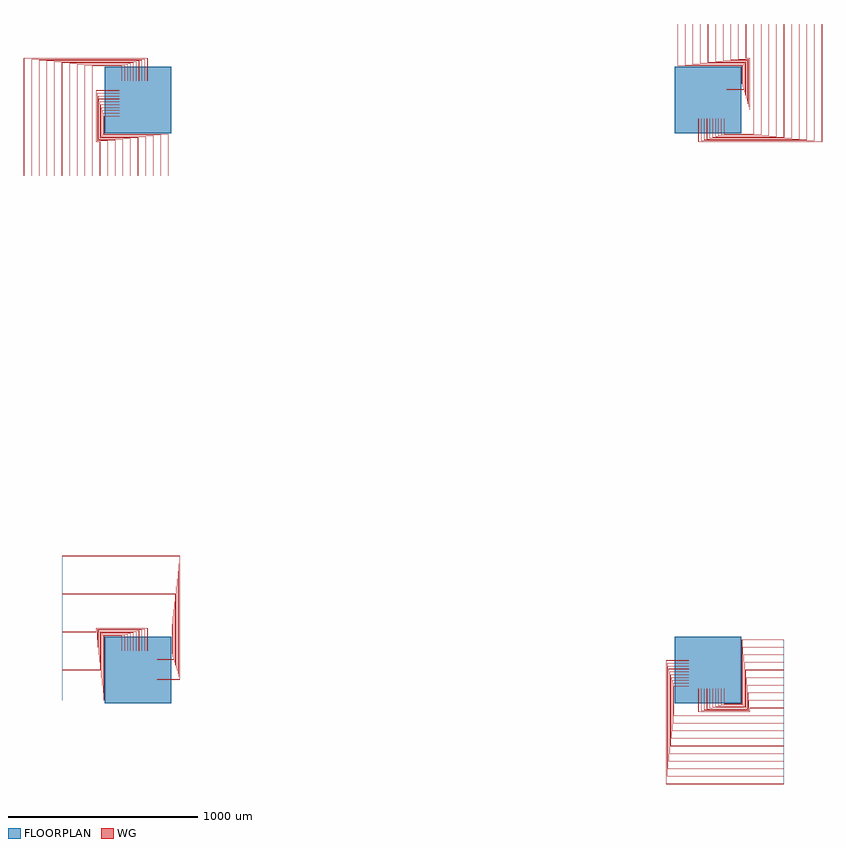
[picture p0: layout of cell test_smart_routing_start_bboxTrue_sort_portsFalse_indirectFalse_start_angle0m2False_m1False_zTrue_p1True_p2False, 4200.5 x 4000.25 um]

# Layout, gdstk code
import gdstk
lib = gdstk.Library(unit=1e-6, precision=1e-09)
def R(c, l, rs):  # rectangles x0, y0, x1, y1
    for r in rs: c.add(gdstk.rectangle(r[:2], r[2:], *l))
def P(c, l, *ps):  # polygons
    for p in ps: c.add(gdstk.Polygon(p, *l))
WG = (1, 0)
FLOORPLAN = (10, 0)

test_smart_routing_start = lib.new_cell('test_smart_routing_start_bboxTrue_sort_portsFalse_indirectFalse_start_angle0m2False_m1False_zTrue_p1True_p2False')
P(test_smart_routing_start, WG, [(2950.05,2780.3),(2950.05,2900),(2950.25,2900),(2950.25,2780.5),(3599.75,2780.5),(3599.75,3400),(3599.95,3400),(3599.95,2780.3)],
  [(2949.75,2780),(2949.75,2900),(2949.95,2900),(2949.95,2780.2),(3600.05,2780.2),(3600.05,3400),(3600.25,3400),(3600.25,2780)],
  [(2965.05,2784.8),(2965.05,2900),(2965.25,2900),(2965.25,2785),(3559.75,2785),(3559.75,3400),(3559.95,3400),(3559.95,2784.8)],
  [(2964.75,2784.5),(2964.75,2900),(2964.95,2900),(2964.95,2784.7),(3560.05,2784.7),(3560.05,3400),(3560.25,3400),(3560.25,2784.5)],
  [(2980.05,2789.3),(2980.05,2900),(2980.25,2900),(2980.25,2789.5),(3519.75,2789.5),(3519.75,3400),(3519.95,3400),(3519.95,2789.3)],
  [(2979.75,2789),(2979.75,2900),(2979.95,2900),(2979.95,2789.2),(3520.05,2789.2),(3520.05,3400),(3520.25,3400),(3520.25,2789)],
  [(2995.05,2793.8),(2995.05,2900),(2995.25,2900),(2995.25,2794),(3479.75,2794),(3479.75,3400),(3479.95,3400),(3479.95,2793.8)],
  [(2994.75,2793.5),(2994.75,2900),(2994.95,2900),(2994.95,2793.7),(3480.05,2793.7),(3480.05,3400),(3480.25,3400),(3480.25,2793.5)],
  [(3010.05,2798.3),(3010.05,2900),(3010.25,2900),(3010.25,2798.5),(3439.75,2798.5),(3439.75,3400),(3439.95,3400),(3439.95,2798.3)],
  [(3009.75,2798),(3009.75,2900),(3009.95,2900),(3009.95,2798.2),(3440.05,2798.2),(3440.05,3400),(3440.25,3400),(3440.25,2798)],
  [(3025.05,2802.8),(3025.05,2900),(3025.25,2900),(3025.25,2803),(3399.75,2803),(3399.75,3400),(3399.95,3400),(3399.95,2802.8)],
  [(3024.75,2802.5),(3024.75,2900),(3024.95,2900),(3024.95,2802.7),(3400.05,2802.7),(3400.05,3400),(3400.25,3400),(3400.25,2802.5)],
  [(3040.05,2807.3),(3040.05,2900),(3040.25,2900),(3040.25,2807.5),(3359.75,2807.5),(3359.75,3400),(3359.95,3400),(3359.95,2807.3)],
  [(3039.75,2807),(3039.75,2900),(3039.95,2900),(3039.95,2807.2),(3360.05,2807.2),(3360.05,3400),(3360.25,3400),(3360.25,2807)],
  [(3055.05,2811.8),(3055.05,2900),(3055.25,2900),(3055.25,2812),(3319.75,2812),(3319.75,3400),(3319.95,3400),(3319.95,2811.8)],
  [(3054.75,2811.5),(3054.75,2900),(3054.95,2900),(3054.95,2811.7),(3320.05,2811.7),(3320.05,3400),(3320.25,3400),(3320.25,2811.5)],
  [(3070.05,2816.3),(3070.05,2900),(3070.25,2900),(3070.25,2816.5),(3279.75,2816.5),(3279.75,3400),(3279.95,3400),(3279.95,2816.3)],
  [(3069.75,2816),(3069.75,2900),(3069.95,2900),(3069.95,2816.2),(3280.05,2816.2),(3280.05,3400),(3280.25,3400),(3280.25,2816)],
  [(3085.05,2820.8),(3085.05,2900),(3085.25,2900),(3085.25,2821),(3239.75,2821),(3239.75,3400),(3239.95,3400),(3239.95,2820.8)],
  [(3084.75,2820.5),(3084.75,2900),(3084.95,2900),(3084.95,2820.7),(3240.05,2820.7),(3240.05,3400),(3240.25,3400),(3240.25,2820.5)],
  [(3100,2950.05),(3100,2950.25),(3219.5,2950.25),(3219.5,3219.5),(3199.75,3219.5),(3199.75,3400),(3199.95,3400),(3199.95,3219.7),(3219.7,3219.7),(3219.7,2950.05)],
  [(3100,2949.75),(3100,2949.95),(3219.8,2949.95),(3219.8,3219.8),(3200.05,3219.8),(3200.05,3400),(3200.25,3400),(3200.25,3220),(3220,3220),(3220,2949.75)],
  [(3100,2965.05),(3100,2965.25),(3215,2965.25),(3215,3215),(3159.75,3215),(3159.75,3400),(3159.95,3400),(3159.95,3215.2),(3215.2,3215.2),(3215.2,2965.05)],
  [(3100,2964.75),(3100,2964.95),(3215.3,2964.95),(3215.3,3215.3),(3160.05,3215.3),(3160.05,3400),(3160.25,3400),(3160.25,3215.5),(3215.5,3215.5),(3215.5,2964.75)],
  [(3100,2980.05),(3100,2980.25),(3210.5,2980.25),(3210.5,3210.5),(3119.75,3210.5),(3119.75,3400),(3119.95,3400),(3119.95,3210.7),(3210.7,3210.7),(3210.7,2980.05)],
  [(3100,2979.75),(3100,2979.95),(3210.8,2979.95),(3210.8,3210.8),(3120.05,3210.8),(3120.05,3400),(3120.25,3400),(3120.25,3211),(3211,3211),(3211,2979.75)],
  [(3100,2995.05),(3100,2995.25),(3206,2995.25),(3206,3206),(3079.75,3206),(3079.75,3400),(3079.95,3400),(3079.95,3206.2),(3206.2,3206.2),(3206.2,2995.05)],
  [(3100,2994.75),(3100,2994.95),(3206.3,2994.95),(3206.3,3206.3),(3080.05,3206.3),(3080.05,3400),(3080.25,3400),(3080.25,3206.5),(3206.5,3206.5),(3206.5,2994.75)],
  [(3100,3010.05),(3100,3010.25),(3201.5,3010.25),(3201.5,3201.5),(3039.75,3201.5),(3039.75,3400),(3039.95,3400),(3039.95,3201.7),(3201.7,3201.7),(3201.7,3010.05)],
  [(3100,3009.75),(3100,3009.95),(3201.8,3009.95),(3201.8,3201.8),(3040.05,3201.8),(3040.05,3400),(3040.25,3400),(3040.25,3202),(3202,3202),(3202,3009.75)],
  [(3100,3025.05),(3100,3025.25),(3197,3025.25),(3197,3197),(2999.75,3197),(2999.75,3400),(2999.95,3400),(2999.95,3197.2),(3197.2,3197.2),(3197.2,3025.05)],
  [(3100,3024.75),(3100,3024.95),(3197.3,3024.95),(3197.3,3197.3),(3000.05,3197.3),(3000.05,3400),(3000.25,3400),(3000.25,3197.5),(3197.5,3197.5),(3197.5,3024.75)],
  [(3100,3040.05),(3100,3040.25),(3192.5,3040.25),(3192.5,3192.5),(2959.75,3192.5),(2959.75,3400),(2959.95,3400),(2959.95,3192.7),(3192.7,3192.7),(3192.7,3040.05)],
  [(3100,3039.75),(3100,3039.95),(3192.8,3039.95),(3192.8,3192.8),(2960.05,3192.8),(2960.05,3400),(2960.25,3400),(2960.25,3193),(3193,3193),(3193,3039.75)],
  [(3100,3055.05),(3100,3055.25),(3188,3055.25),(3188,3188),(2919.75,3188),(2919.75,3400),(2919.95,3400),(2919.95,3188.2),(3188.2,3188.2),(3188.2,3055.05)],
  [(3100,3054.75),(3100,3054.95),(3188.3,3054.95),(3188.3,3188.3),(2920.05,3188.3),(2920.05,3400),(2920.25,3400),(2920.25,3188.5),(3188.5,3188.5),(3188.5,3054.75)],
  [(3100,3070.05),(3100,3070.25),(3183.5,3070.25),(3183.5,3183.5),(2879.75,3183.5),(2879.75,3400),(2879.95,3400),(2879.95,3183.7),(3183.7,3183.7),(3183.7,3070.05)],
  [(3100,3069.75),(3100,3069.95),(3183.8,3069.95),(3183.8,3183.8),(2880.05,3183.8),(2880.05,3400),(2880.25,3400),(2880.25,3184),(3184,3184),(3184,3069.75)],
  [(3100,3085.05),(3100,3085.25),(3179,3085.25),(3179,3179),(2839.75,3179),(2839.75,3400),(2839.95,3400),(2839.95,3179.2),(3179.2,3179.2),(3179.2,3085.05)],
  [(3100,3084.75),(3100,3084.95),(3179.3,3084.95),(3179.3,3179.3),(2840.05,3179.3),(2840.05,3400),(2840.25,3400),(2840.25,3179.5),(3179.5,3179.5),(3179.5,3084.75)],
  [(-599.95,2600),(-599.95,3219.7),(49.95,3219.7),(49.95,3100),(49.75,3100),(49.75,3219.5),(-599.75,3219.5),(-599.75,2600)],
  [(-600.25,2600),(-600.25,3220),(50.25,3220),(50.25,3100),(50.05,3100),(50.05,3219.8),(-600.05,3219.8),(-600.05,2600)],
  [(-559.95,2600),(-559.95,3215.2),(34.95,3215.2),(34.95,3100),(34.75,3100),(34.75,3215),(-559.75,3215),(-559.75,2600)],
  [(-560.25,2600),(-560.25,3215.5),(35.25,3215.5),(35.25,3100),(35.05,3100),(35.05,3215.3),(-560.05,3215.3),(-560.05,2600)],
  [(-519.95,2600),(-519.95,3210.7),(19.95,3210.7),(19.95,3100),(19.75,3100),(19.75,3210.5),(-519.75,3210.5),(-519.75,2600)],
  [(-520.25,2600),(-520.25,3211),(20.25,3211),(20.25,3100),(20.05,3100),(20.05,3210.8),(-520.05,3210.8),(-520.05,2600)],
  [(-479.95,2600),(-479.95,3206.2),(4.95,3206.2),(4.95,3100),(4.75,3100),(4.75,3206),(-479.75,3206),(-479.75,2600)],
  [(-480.25,2600),(-480.25,3206.5),(5.25,3206.5),(5.25,3100),(5.05,3100),(5.05,3206.3),(-480.05,3206.3),(-480.05,2600)],
  [(-439.95,2600),(-439.95,3201.7),(-10.05,3201.7),(-10.05,3100),(-10.25,3100),(-10.25,3201.5),(-439.75,3201.5),(-439.75,2600)],
  [(-440.25,2600),(-440.25,3202),(-9.75,3202),(-9.75,3100),(-9.95,3100),(-9.95,3201.8),(-440.05,3201.8),(-440.05,2600)],
  [(-399.95,2600),(-399.95,3197.2),(-25.05,3197.2),(-25.05,3100),(-25.25,3100),(-25.25,3197),(-399.75,3197),(-399.75,2600)],
  [(-400.25,2600),(-400.25,3197.5),(-24.75,3197.5),(-24.75,3100),(-24.95,3100),(-24.95,3197.3),(-400.05,3197.3),(-400.05,2600)],
  [(-359.95,2600),(-359.95,3192.7),(-40.05,3192.7),(-40.05,3100),(-40.25,3100),(-40.25,3192.5),(-359.75,3192.5),(-359.75,2600)],
  [(-360.25,2600),(-360.25,3193),(-39.75,3193),(-39.75,3100),(-39.95,3100),(-39.95,3192.8),(-360.05,3192.8),(-360.05,2600)],
  [(-319.95,2600),(-319.95,3188.2),(-55.05,3188.2),(-55.05,3100),(-55.25,3100),(-55.25,3188),(-319.75,3188),(-319.75,2600)],
  [(-320.25,2600),(-320.25,3188.5),(-54.75,3188.5),(-54.75,3100),(-54.95,3100),(-54.95,3188.3),(-320.05,3188.3),(-320.05,2600)],
  [(-279.95,2600),(-279.95,3183.7),(-70.05,3183.7),(-70.05,3100),(-70.25,3100),(-70.25,3183.5),(-279.75,3183.5),(-279.75,2600)],
  [(-280.25,2600),(-280.25,3184),(-69.75,3184),(-69.75,3100),(-69.95,3100),(-69.95,3183.8),(-280.05,3183.8),(-280.05,2600)],
  [(-239.95,2600),(-239.95,3179.2),(-85.05,3179.2),(-85.05,3100),(-85.25,3100),(-85.25,3179),(-239.75,3179),(-239.75,2600)],
  [(-240.25,2600),(-240.25,3179.5),(-84.75,3179.5),(-84.75,3100),(-84.95,3100),(-84.95,3179.3),(-240.05,3179.3),(-240.05,2600)],
  [(-199.95,2600),(-199.95,2780.3),(-219.7,2780.3),(-219.7,3049.95),(-100,3049.95),(-100,3049.75),(-219.5,3049.75),(-219.5,2780.5),(-199.75,2780.5),(-199.75,2600)],
  [(-200.25,2600),(-200.25,2780),(-220,2780),(-220,3050.25),(-100,3050.25),(-100,3050.05),(-219.8,3050.05),(-219.8,2780.2),(-200.05,2780.2),(-200.05,2600)],
  [(-159.95,2600),(-159.95,2784.8),(-215.2,2784.8),(-215.2,3034.95),(-100,3034.95),(-100,3034.75),(-215,3034.75),(-215,2785),(-159.75,2785),(-159.75,2600)],
  [(-160.25,2600),(-160.25,2784.5),(-215.5,2784.5),(-215.5,3035.25),(-100,3035.25),(-100,3035.05),(-215.3,3035.05),(-215.3,2784.7),(-160.05,2784.7),(-160.05,2600)],
  [(-119.95,2600),(-119.95,2789.3),(-210.7,2789.3),(-210.7,3019.95),(-100,3019.95),(-100,3019.75),(-210.5,3019.75),(-210.5,2789.5),(-119.75,2789.5),(-119.75,2600)],
  [(-120.25,2600),(-120.25,2789),(-211,2789),(-211,3020.25),(-100,3020.25),(-100,3020.05),(-210.8,3020.05),(-210.8,2789.2),(-120.05,2789.2),(-120.05,2600)],
  [(-79.95,2600),(-79.95,2793.8),(-206.2,2793.8),(-206.2,3004.95),(-100,3004.95),(-100,3004.75),(-206,3004.75),(-206,2794),(-79.75,2794),(-79.75,2600)],
  [(-80.25,2600),(-80.25,2793.5),(-206.5,2793.5),(-206.5,3005.25),(-100,3005.25),(-100,3005.05),(-206.3,3005.05),(-206.3,2793.7),(-80.05,2793.7),(-80.05,2600)],
  [(-39.95,2600),(-39.95,2798.3),(-201.7,2798.3),(-201.7,2989.95),(-100,2989.95),(-100,2989.75),(-201.5,2989.75),(-201.5,2798.5),(-39.75,2798.5),(-39.75,2600)],
  [(-40.25,2600),(-40.25,2798),(-202,2798),(-202,2990.25),(-100,2990.25),(-100,2990.05),(-201.8,2990.05),(-201.8,2798.2),(-40.05,2798.2),(-40.05,2600)],
  [(0.05,2600),(0.05,2802.8),(-197.2,2802.8),(-197.2,2974.95),(-100,2974.95),(-100,2974.75),(-197,2974.75),(-197,2803),(0.25,2803),(0.25,2600)],
  [(-0.25,2600),(-0.25,2802.5),(-197.5,2802.5),(-197.5,2975.25),(-100,2975.25),(-100,2975.05),(-197.3,2975.05),(-197.3,2802.7),(-0.05,2802.7),(-0.05,2600)],
  [(40.05,2600),(40.05,2807.3),(-192.7,2807.3),(-192.7,2959.95),(-100,2959.95),(-100,2959.75),(-192.5,2959.75),(-192.5,2807.5),(40.25,2807.5),(40.25,2600)],
  [(39.75,2600),(39.75,2807),(-193,2807),(-193,2960.25),(-100,2960.25),(-100,2960.05),(-192.8,2960.05),(-192.8,2807.2),(39.95,2807.2),(39.95,2600)],
  [(80.05,2600),(80.05,2811.8),(-188.2,2811.8),(-188.2,2944.95),(-100,2944.95),(-100,2944.75),(-188,2944.75),(-188,2812),(80.25,2812),(80.25,2600)],
  [(79.75,2600),(79.75,2811.5),(-188.5,2811.5),(-188.5,2945.25),(-100,2945.25),(-100,2945.05),(-188.3,2945.05),(-188.3,2811.7),(79.95,2811.7),(79.95,2600)],
  [(120.05,2600),(120.05,2816.3),(-183.7,2816.3),(-183.7,2929.95),(-100,2929.95),(-100,2929.75),(-183.5,2929.75),(-183.5,2816.5),(120.25,2816.5),(120.25,2600)],
  [(119.75,2600),(119.75,2816),(-184,2816),(-184,2930.25),(-100,2930.25),(-100,2930.05),(-183.8,2930.05),(-183.8,2816.2),(119.95,2816.2),(119.95,2600)],
  [(160.05,2600),(160.05,2820.8),(-179.2,2820.8),(-179.2,2914.95),(-100,2914.95),(-100,2914.75),(-179,2914.75),(-179,2821),(160.25,2821),(160.25,2600)],
  [(159.75,2600),(159.75,2820.5),(-179.5,2820.5),(-179.5,2915.25),(-100,2915.25),(-100,2915.05),(-179.3,2915.05),(-179.3,2820.7),(159.95,2820.7),(159.95,2600)],
  [(100,-49.95),(100,-49.75),(219.5,-49.75),(219.5,599.75),(-400,599.75),(-400,599.95),(219.7,599.95),(219.7,-49.95)],
  [(100,-50.25),(100,-50.05),(219.8,-50.05),(219.8,600.05),(-400,600.05),(-400,600.25),(220,600.25),(220,-50.25)],
  [(100,-34.95),(100,-34.75),(215,-34.75),(215,559.75),(-400,559.75),(-400,559.95),(215.2,559.95),(215.2,-34.95)],
  [(100,-35.25),(100,-35.05),(215.3,-35.05),(215.3,560.05),(-400,560.05),(-400,560.25),(215.5,560.25),(215.5,-35.25)],
  [(100,-19.95),(100,-19.75),(210.5,-19.75),(210.5,519.75),(-400,519.75),(-400,519.95),(210.7,519.95),(210.7,-19.95)],
  [(100,-20.25),(100,-20.05),(210.8,-20.05),(210.8,520.05),(-400,520.05),(-400,520.25),(211,520.25),(211,-20.25)],
  [(100,-4.95),(100,-4.75),(206,-4.75),(206,479.75),(-400,479.75),(-400,479.95),(206.2,479.95),(206.2,-4.95)],
  [(100,-5.25),(100,-5.05),(206.3,-5.05),(206.3,480.05),(-400,480.05),(-400,480.25),(206.5,480.25),(206.5,-5.25)],
  [(100,10.05),(100,10.25),(201.5,10.25),(201.5,439.75),(-400,439.75),(-400,439.95),(201.7,439.95),(201.7,10.05)],
  [(100,9.75),(100,9.95),(201.8,9.95),(201.8,440.05),(-400,440.05),(-400,440.25),(202,440.25),(202,9.75)],
  [(100,25.05),(100,25.25),(197,25.25),(197,399.75),(-400,399.75),(-400,399.95),(197.2,399.95),(197.2,25.05)],
  [(100,24.75),(100,24.95),(197.3,24.95),(197.3,400.05),(-400,400.05),(-400,400.25),(197.5,400.25),(197.5,24.75)],
  [(100,40.05),(100,40.25),(192.5,40.25),(192.5,359.75),(-400,359.75),(-400,359.95),(192.7,359.95),(192.7,40.05)],
  [(100,39.75),(100,39.95),(192.8,39.95),(192.8,360.05),(-400,360.05),(-400,360.25),(193,360.25),(193,39.75)],
  [(100,55.05),(100,55.25),(188,55.25),(188,319.75),(-400,319.75),(-400,319.95),(188.2,319.95),(188.2,55.05)],
  [(100,54.75),(100,54.95),(188.3,54.95),(188.3,320.05),(-400,320.05),(-400,320.25),(188.5,320.25),(188.5,54.75)],
  [(100,70.05),(100,70.25),(183.5,70.25),(183.5,279.75),(-400,279.75),(-400,279.95),(183.7,279.95),(183.7,70.05)],
  [(100,69.75),(100,69.95),(183.8,69.95),(183.8,280.05),(-400,280.05),(-400,280.25),(184,280.25),(184,69.75)],
  [(100,85.05),(100,85.25),(179,85.25),(179,239.75),(-400,239.75),(-400,239.95),(179.2,239.95),(179.2,85.05)],
  [(100,84.75),(100,84.95),(179.3,84.95),(179.3,240.05),(-400,240.05),(-400,240.25),(179.5,240.25),(179.5,84.75)],
  [(49.75,100),(49.75,219.5),(-219.5,219.5),(-219.5,199.75),(-400,199.75),(-400,199.95),(-219.7,199.95),(-219.7,219.7),(49.95,219.7),(49.95,100)],
  [(50.05,100),(50.05,219.8),(-219.8,219.8),(-219.8,200.05),(-400,200.05),(-400,200.25),(-220,200.25),(-220,220),(50.25,220),(50.25,100)],
  [(34.75,100),(34.75,215),(-215,215),(-215,159.75),(-400,159.75),(-400,159.95),(-215.2,159.95),(-215.2,215.2),(34.95,215.2),(34.95,100)],
  [(35.05,100),(35.05,215.3),(-215.3,215.3),(-215.3,160.05),(-400,160.05),(-400,160.25),(-215.5,160.25),(-215.5,215.5),(35.25,215.5),(35.25,100)],
  [(19.75,100),(19.75,210.5),(-210.5,210.5),(-210.5,119.75),(-400,119.75),(-400,119.95),(-210.7,119.95),(-210.7,210.7),(19.95,210.7),(19.95,100)],
  [(20.05,100),(20.05,210.8),(-210.8,210.8),(-210.8,120.05),(-400,120.05),(-400,120.25),(-211,120.25),(-211,211),(20.25,211),(20.25,100)],
  [(-400,79.75),(-400,79.95),(-206.2,79.95),(-206.2,206.2),(4.95,206.2),(4.95,100),(4.75,100),(4.75,206),(-206,206),(-206,79.75)],
  [(-400,80.05),(-400,80.25),(-206.5,80.25),(-206.5,206.5),(5.25,206.5),(5.25,100),(5.05,100),(5.05,206.3),(-206.3,206.3),(-206.3,80.05)],
  [(-400,39.75),(-400,39.95),(-201.7,39.95),(-201.7,201.7),(-10.05,201.7),(-10.05,100),(-10.25,100),(-10.25,201.5),(-201.5,201.5),(-201.5,39.75)],
  [(-400,40.05),(-400,40.25),(-202,40.25),(-202,202),(-9.75,202),(-9.75,100),(-9.95,100),(-9.95,201.8),(-201.8,201.8),(-201.8,40.05)],
  [(-400,-0.25),(-400,-0.05),(-197.2,-0.05),(-197.2,197.2),(-25.05,197.2),(-25.05,100),(-25.25,100),(-25.25,197),(-197,197),(-197,-0.25)],
  [(-400,0.05),(-400,0.25),(-197.5,0.25),(-197.5,197.5),(-24.75,197.5),(-24.75,100),(-24.95,100),(-24.95,197.3),(-197.3,197.3),(-197.3,0.05)],
  [(-400,-40.25),(-400,-40.05),(-192.7,-40.05),(-192.7,192.7),(-40.05,192.7),(-40.05,100),(-40.25,100),(-40.25,192.5),(-192.5,192.5),(-192.5,-40.25)],
  [(-400,-39.95),(-400,-39.75),(-193,-39.75),(-193,193),(-39.75,193),(-39.75,100),(-39.95,100),(-39.95,192.8),(-192.8,192.8),(-192.8,-39.95)],
  [(-400,-80.25),(-400,-80.05),(-188.2,-80.05),(-188.2,188.2),(-55.05,188.2),(-55.05,100),(-55.25,100),(-55.25,188),(-188,188),(-188,-80.25)],
  [(-400,-79.95),(-400,-79.75),(-188.5,-79.75),(-188.5,188.5),(-54.75,188.5),(-54.75,100),(-54.95,100),(-54.95,188.3),(-188.3,188.3),(-188.3,-79.95)],
  [(-400,-120.25),(-400,-120.05),(-183.7,-120.05),(-183.7,183.7),(-70.05,183.7),(-70.05,100),(-70.25,100),(-70.25,183.5),(-183.5,183.5),(-183.5,-120.25)],
  [(-400,-119.95),(-400,-119.75),(-184,-119.75),(-184,184),(-69.75,184),(-69.75,100),(-69.95,100),(-69.95,183.8),(-183.8,183.8),(-183.8,-119.95)],
  [(-400,-160.25),(-400,-160.05),(-179.2,-160.05),(-179.2,179.2),(-85.05,179.2),(-85.05,100),(-85.25,100),(-85.25,179),(-179,179),(-179,-160.25)],
  [(-400,-159.95),(-400,-159.75),(-179.5,-159.75),(-179.5,179.5),(-84.75,179.5),(-84.75,100),(-84.95,100),(-84.95,179.3),(-179.3,179.3),(-179.3,-159.95)],
  [(2780.3,-599.95),(2780.3,49.95),(2900,49.95),(2900,49.75),(2780.5,49.75),(2780.5,-599.75),(3400,-599.75),(3400,-599.95)],
  [(2780,-600.25),(2780,50.25),(2900,50.25),(2900,50.05),(2780.2,50.05),(2780.2,-600.05),(3400,-600.05),(3400,-600.25)],
  [(2784.8,-559.95),(2784.8,34.95),(2900,34.95),(2900,34.75),(2785,34.75),(2785,-559.75),(3400,-559.75),(3400,-559.95)],
  [(2784.5,-560.25),(2784.5,35.25),(2900,35.25),(2900,35.05),(2784.7,35.05),(2784.7,-560.05),(3400,-560.05),(3400,-560.25)],
  [(2789.3,-519.95),(2789.3,19.95),(2900,19.95),(2900,19.75),(2789.5,19.75),(2789.5,-519.75),(3400,-519.75),(3400,-519.95)],
  [(2789,-520.25),(2789,20.25),(2900,20.25),(2900,20.05),(2789.2,20.05),(2789.2,-520.05),(3400,-520.05),(3400,-520.25)],
  [(2793.8,-479.95),(2793.8,4.95),(2900,4.95),(2900,4.75),(2794,4.75),(2794,-479.75),(3400,-479.75),(3400,-479.95)],
  [(2793.5,-480.25),(2793.5,5.25),(2900,5.25),(2900,5.05),(2793.7,5.05),(2793.7,-480.05),(3400,-480.05),(3400,-480.25)],
  [(2798.3,-439.95),(2798.3,-10.05),(2900,-10.05),(2900,-10.25),(2798.5,-10.25),(2798.5,-439.75),(3400,-439.75),(3400,-439.95)],
  [(2798,-440.25),(2798,-9.75),(2900,-9.75),(2900,-9.95),(2798.2,-9.95),(2798.2,-440.05),(3400,-440.05),(3400,-440.25)],
  [(2802.8,-399.95),(2802.8,-25.05),(2900,-25.05),(2900,-25.25),(2803,-25.25),(2803,-399.75),(3400,-399.75),(3400,-399.95)],
  [(2802.5,-400.25),(2802.5,-24.75),(2900,-24.75),(2900,-24.95),(2802.7,-24.95),(2802.7,-400.05),(3400,-400.05),(3400,-400.25)],
  [(2807.3,-359.95),(2807.3,-40.05),(2900,-40.05),(2900,-40.25),(2807.5,-40.25),(2807.5,-359.75),(3400,-359.75),(3400,-359.95)],
  [(2807,-360.25),(2807,-39.75),(2900,-39.75),(2900,-39.95),(2807.2,-39.95),(2807.2,-360.05),(3400,-360.05),(3400,-360.25)],
  [(2811.8,-319.95),(2811.8,-55.05),(2900,-55.05),(2900,-55.25),(2812,-55.25),(2812,-319.75),(3400,-319.75),(3400,-319.95)],
  [(2811.5,-320.25),(2811.5,-54.75),(2900,-54.75),(2900,-54.95),(2811.7,-54.95),(2811.7,-320.05),(3400,-320.05),(3400,-320.25)],
  [(2816.3,-279.95),(2816.3,-70.05),(2900,-70.05),(2900,-70.25),(2816.5,-70.25),(2816.5,-279.75),(3400,-279.75),(3400,-279.95)],
  [(2816,-280.25),(2816,-69.75),(2900,-69.75),(2900,-69.95),(2816.2,-69.95),(2816.2,-280.05),(3400,-280.05),(3400,-280.25)],
  [(2820.8,-239.95),(2820.8,-85.05),(2900,-85.05),(2900,-85.25),(2821,-85.25),(2821,-239.75),(3400,-239.75),(3400,-239.95)],
  [(2820.5,-240.25),(2820.5,-84.75),(2900,-84.75),(2900,-84.95),(2820.7,-84.95),(2820.7,-240.05),(3400,-240.05),(3400,-240.25)],
  [(2949.75,-220),(2949.75,-100),(2949.95,-100),(2949.95,-219.8),(3219.8,-219.8),(3219.8,-200.05),(3400,-200.05),(3400,-200.25),(3220,-200.25),(3220,-220)],
  [(2950.05,-219.7),(2950.05,-100),(2950.25,-100),(2950.25,-219.5),(3219.5,-219.5),(3219.5,-199.75),(3400,-199.75),(3400,-199.95),(3219.7,-199.95),(3219.7,-219.7)],
  [(2964.75,-215.5),(2964.75,-100),(2964.95,-100),(2964.95,-215.3),(3215.3,-215.3),(3215.3,-160.05),(3400,-160.05),(3400,-160.25),(3215.5,-160.25),(3215.5,-215.5)],
  [(2965.05,-215.2),(2965.05,-100),(2965.25,-100),(2965.25,-215),(3215,-215),(3215,-159.75),(3400,-159.75),(3400,-159.95),(3215.2,-159.95),(3215.2,-215.2)],
  [(2979.75,-211),(2979.75,-100),(2979.95,-100),(2979.95,-210.8),(3210.8,-210.8),(3210.8,-120.05),(3400,-120.05),(3400,-120.25),(3211,-120.25),(3211,-211)],
  [(2980.05,-210.7),(2980.05,-100),(2980.25,-100),(2980.25,-210.5),(3210.5,-210.5),(3210.5,-119.75),(3400,-119.75),(3400,-119.95),(3210.7,-119.95),(3210.7,-210.7)],
  [(2994.75,-206.5),(2994.75,-100),(2994.95,-100),(2994.95,-206.3),(3206.3,-206.3),(3206.3,-80.05),(3400,-80.05),(3400,-80.25),(3206.5,-80.25),(3206.5,-206.5)],
  [(2995.05,-206.2),(2995.05,-100),(2995.25,-100),(2995.25,-206),(3206,-206),(3206,-79.75),(3400,-79.75),(3400,-79.95),(3206.2,-79.95),(3206.2,-206.2)],
  [(3009.75,-202),(3009.75,-100),(3009.95,-100),(3009.95,-201.8),(3201.8,-201.8),(3201.8,-40.05),(3400,-40.05),(3400,-40.25),(3202,-40.25),(3202,-202)],
  [(3010.05,-201.7),(3010.05,-100),(3010.25,-100),(3010.25,-201.5),(3201.5,-201.5),(3201.5,-39.75),(3400,-39.75),(3400,-39.95),(3201.7,-39.95),(3201.7,-201.7)],
  [(3024.75,-197.5),(3024.75,-100),(3024.95,-100),(3024.95,-197.3),(3197.3,-197.3),(3197.3,-0.05),(3400,-0.05),(3400,-0.25),(3197.5,-0.25),(3197.5,-197.5)],
  [(3025.05,-197.2),(3025.05,-100),(3025.25,-100),(3025.25,-197),(3197,-197),(3197,0.25),(3400,0.25),(3400,0.05),(3197.2,0.05),(3197.2,-197.2)],
  [(3039.75,-193),(3039.75,-100),(3039.95,-100),(3039.95,-192.8),(3192.8,-192.8),(3192.8,39.95),(3400,39.95),(3400,39.75),(3193,39.75),(3193,-193)],
  [(3040.05,-192.7),(3040.05,-100),(3040.25,-100),(3040.25,-192.5),(3192.5,-192.5),(3192.5,40.25),(3400,40.25),(3400,40.05),(3192.7,40.05),(3192.7,-192.7)],
  [(3054.75,-188.5),(3054.75,-100),(3054.95,-100),(3054.95,-188.3),(3188.3,-188.3),(3188.3,79.95),(3400,79.95),(3400,79.75),(3188.5,79.75),(3188.5,-188.5)],
  [(3055.05,-188.2),(3055.05,-100),(3055.25,-100),(3055.25,-188),(3188,-188),(3188,80.25),(3400,80.25),(3400,80.05),(3188.2,80.05),(3188.2,-188.2)],
  [(3069.75,-184),(3069.75,-100),(3069.95,-100),(3069.95,-183.8),(3183.8,-183.8),(3183.8,119.95),(3400,119.95),(3400,119.75),(3184,119.75),(3184,-184)],
  [(3070.05,-183.7),(3070.05,-100),(3070.25,-100),(3070.25,-183.5),(3183.5,-183.5),(3183.5,120.25),(3400,120.25),(3400,120.05),(3183.7,120.05),(3183.7,-183.7)],
  [(3084.75,-179.5),(3084.75,-100),(3084.95,-100),(3084.95,-179.3),(3179.3,-179.3),(3179.3,159.95),(3400,159.95),(3400,159.75),(3179.5,159.75),(3179.5,-179.5)],
  [(3085.05,-179.2),(3085.05,-100),(3085.25,-100),(3085.25,-179),(3179,-179),(3179,160.25),(3400,160.25),(3400,160.05),(3179.2,160.05),(3179.2,-179.2)])
R(test_smart_routing_start, FLOORPLAN, [(-175,-175,175,175), (2825,-175,3175,175), (-175,2825,175,3175), (2825,2825,3175,3175)])
P(test_smart_routing_start, FLOORPLAN, [(-400,-160),(-400,600),(-400,600),(-400,-160)],
  [(-600,2600),(-600,2600),(160,2600),(160,2600)],
  [(3400,-600),(3400,160),(3400,160),(3400,-600)],
  [(2840,3400),(2840,3400),(3600,3400),(3600,3400)])

lib.write_gds('test_smart_routing_start_bboxTrue_sort_portsFalse_indirectFalse_start_angle0m2False_m1False_zTrue_p1True_p2False.gds')
